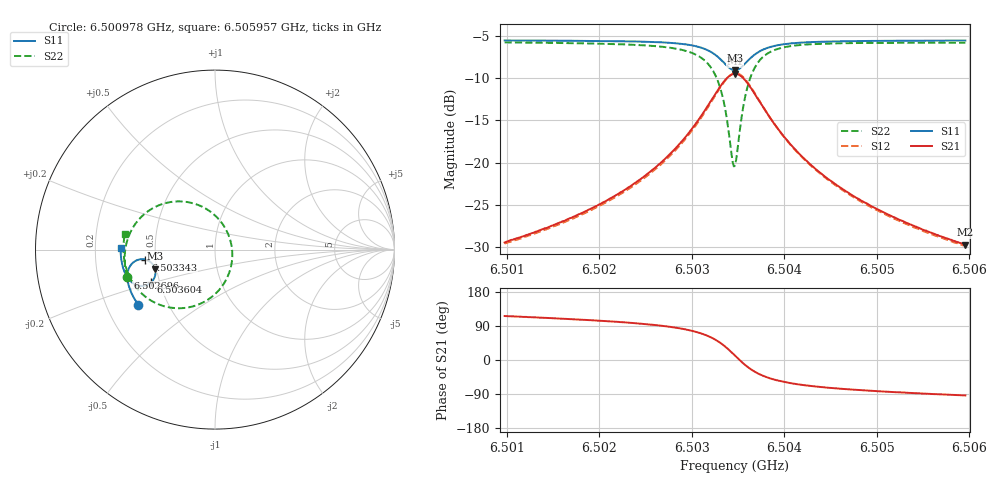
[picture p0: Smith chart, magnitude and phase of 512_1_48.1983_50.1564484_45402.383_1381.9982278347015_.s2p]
#  HZ  S  RI  R  50.00
! Rohde & Schwarz Vector Network Analyzer
! Rohde-Schwarz,ZNB20-2Port,1311601062101988,3.16
! Created: UTC 3/20/2024, 11:59:00 AM
! freq[Hz]  re:S11  im:S11  re:S21  im:S21  re:S12  im:S12  re:S22  im:S22
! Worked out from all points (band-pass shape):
!   401 points, 6.500978 GHz to 6.505957 GHz, reference 50 ohm
!   highest |S21| = -9.50 dB at 6.503467 GHz (marker M1); lowest = -29.7 dB at 6.505957 GHz (marker M2)
!   |S21| within 3 dB of the highest: 6.503219 GHz to 6.503717 GHz (497.6 kHz wide, 0.00765 % of centre)
!   lowest |S11| = -9.1 dB at 6.503467 GHz (marker M3), VSWR 2.08, Z = 24.5 - j5.89 ohm
!   |S11| at or under -10 dB: nowhere
!   |S22| runs from -20.4 to -5.8 dB; largest |S21 - S12| = 0.011
!   S11 on the Smith chart (normalised r, x): 6.500978 GHz: 0.34, -0.29; 6.502696 GHz: 0.33, -0.14; 6.503343 GHz: 0.44, -0.06; 6.503604 GHz: 0.45, -0.19; 6.505957 GHz: 0.31, +0.01
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6.5009777e9  -0.4274 -0.3088  -0.0148 0.0303  -0.0132 0.0305  -0.4902 -0.1531
6.5018117e9  -0.4631 -0.2469  -0.0142 0.0483  -0.0118 0.0479  -0.503 -0.0639
6.5022723e9  -0.4792 -0.2059  -0.0112 0.0679  -0.00836 0.0668  -0.4997 0.00186
6.5026457e9  -0.4879 -0.1642  -0.00195 0.0976  0.00144 0.0954  -0.4797 0.0773
6.5026955e9  -0.4884 -0.1577  0.000373 0.1033  0.00394 0.1008  -0.4745 0.0899
6.5029569e9  -0.4842 -0.1163  0.0268 0.1447  0.0302 0.1404  -0.4197 0.1728
6.5031436e9  -0.4624 -0.078  0.0818 0.1873  0.0837 0.1815  -0.3151 0.246
6.5032557e9  -0.4293 -0.0571  0.1516 0.205  0.1521 0.1992  -0.1888 0.2684
6.5033428e9  -0.3882 -0.0555  0.2324 0.1885  0.2323 0.1842  -0.0497 0.2276
6.50343e9  -0.3456 -0.0839  0.3103 0.1151  0.3126 0.1118  0.0746 0.0834
6.5034548e9  -0.3375 -0.0979  0.3237 0.0839  0.327 0.0796  0.0918 0.0244
6.5034673e9  -0.3347 -0.1055  0.3281 0.0671  0.3316 0.0623  0.0957 -0.00674
6.5034922e9  -0.3316 -0.1217  0.3317 0.033  0.3357 0.0267  0.0938 -0.0695
6.5035295e9  -0.3336 -0.1454  0.3246 -0.0168  0.3283 -0.025  0.0674 -0.1574
6.5036042e9  -0.3554 -0.1822  0.279 -0.0927  0.2792 -0.1036  -0.0408 -0.2796
6.5037163e9  -0.4006 -0.2021  0.193 -0.138  0.1881 -0.1475  -0.215 -0.3266
6.5038781e9  -0.4476 -0.1927  0.1098 -0.1346  0.1031 -0.1397  -0.3645 -0.2788
6.5040523e9  -0.4754 -0.1713  0.0647 -0.1139  0.0587 -0.1161  -0.4376 -0.213
6.5043013e9  -0.4963 -0.1414  0.0343 -0.089  0.0297 -0.0898  -0.4813 -0.1401
6.5046872e9  -0.5123 -0.1008  0.0147 -0.0649  0.0116 -0.0645  -0.5044 -0.0627
6.5051353e9  -0.5214 -0.0592  0.00501 -0.0487  0.00291 -0.0479  -0.5104 0.000995
6.5059569e9  -0.5265 0.0105  -0.00204 -0.0326  -0.00329 -0.0319  -0.5027 0.0883
